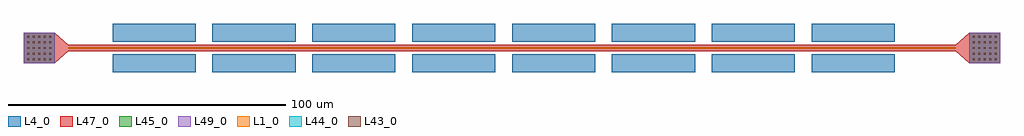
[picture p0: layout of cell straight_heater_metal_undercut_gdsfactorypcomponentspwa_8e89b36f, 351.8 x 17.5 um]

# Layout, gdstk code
import gdstk
lib = gdstk.Library(unit=1e-6, precision=1e-09)
def R(c, l, rs):  # rectangles x0, y0, x1, y1
    for r in rs: c.add(gdstk.rectangle(r[:2], r[2:], *l))
def A(c, l, x, y, w, h, nx, ny, dx, dy):  # array of equal rectangles
    R(c, l, [(x+i*dx, y+j*dy, x+i*dx+w, y+j*dy+h) for i in range(nx) for j in range(ny)])
def P(c, l, *ps):  # polygons
    for p in ps: c.add(gdstk.Polygon(p, *l))
L1_0 = (1, 0)
L4_0 = (4, 0)
L43_0 = (43, 0)
L44_0 = (44, 0)
L45_0 = (45, 0)
L47_0 = (47, 0)
L49_0 = (49, 0)

straight_heater_metal_un = lib.new_cell('straight_heater_metal_undercut_gdsfactorypcomponentspwa_8e89b36f')
R(straight_heater_metal_un, L1_0, [(0,-0.25,320,0.25)])
A(straight_heater_metal_un, L4_0, 16, -8.75, 30, 6.5, 8, 2, 36, 11)
A(straight_heater_metal_un, L43_0, -14.75, -4.35, 0.7, 0.7, 5, 5, 2, 2)
A(straight_heater_metal_un, L43_0, 326.05, -4.35, 0.7, 0.7, 5, 5, 2, 2)
A(straight_heater_metal_un, L44_0, -14.75, -4.35, 0.7, 0.7, 5, 5, 2, 2)
A(straight_heater_metal_un, L44_0, 326.05, -4.35, 0.7, 0.7, 5, 5, 2, 2)
R(straight_heater_metal_un, L45_0, [(-15.9,-5.5,-4.9,5.5), (324.9,-5.5,335.9,5.5)])
P(straight_heater_metal_un, L47_0, [(-15.9,-5.5),(-15.9,5.5),(-4.9,5.5),(0.1,1.25),(319.9,1.25),(324.9,5.5),(335.9,5.5),(335.9,-5.5),(324.9,-5.5),(319.9,-1.25),(0.1,-1.25),(-4.9,-5.5)])
R(straight_heater_metal_un, L49_0, [(-15.9,-5.5,-4.9,5.5), (324.9,-5.5,335.9,5.5)])

lib.write_gds('straight_heater_metal_undercut_gdsfactorypcomponentspwa_8e89b36f.gds')
